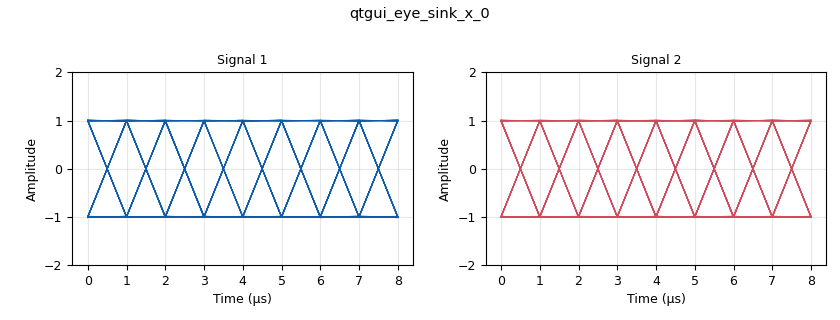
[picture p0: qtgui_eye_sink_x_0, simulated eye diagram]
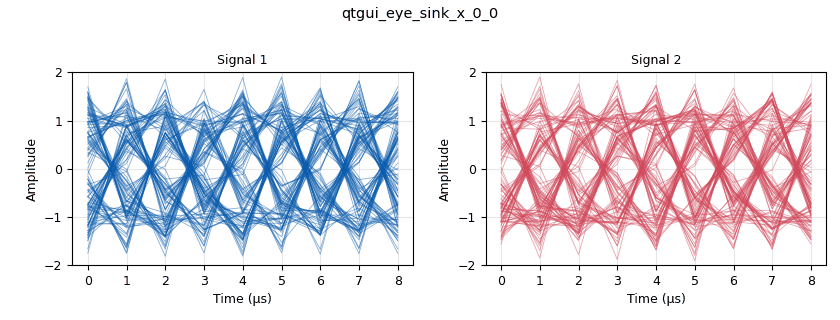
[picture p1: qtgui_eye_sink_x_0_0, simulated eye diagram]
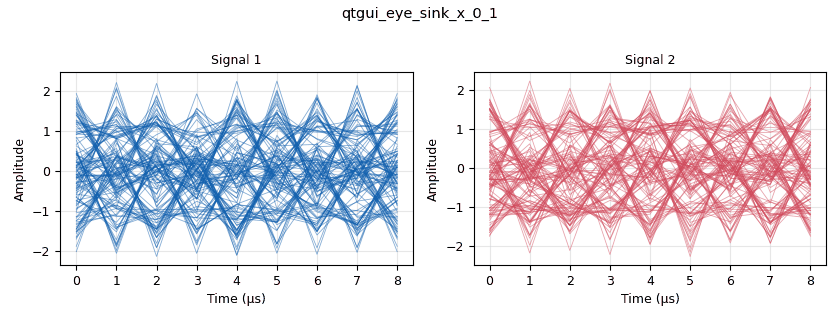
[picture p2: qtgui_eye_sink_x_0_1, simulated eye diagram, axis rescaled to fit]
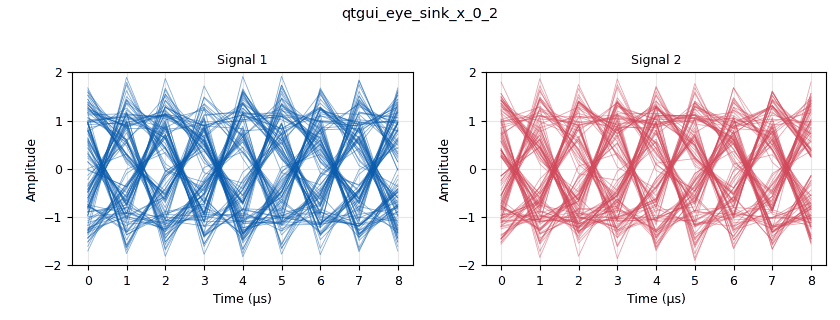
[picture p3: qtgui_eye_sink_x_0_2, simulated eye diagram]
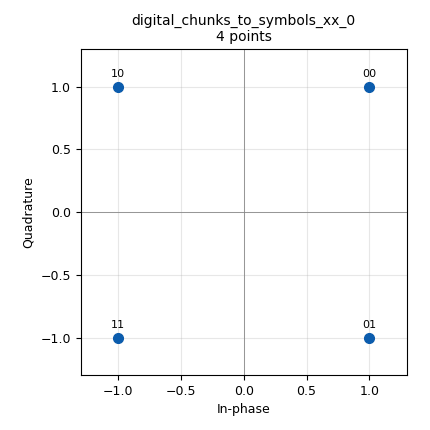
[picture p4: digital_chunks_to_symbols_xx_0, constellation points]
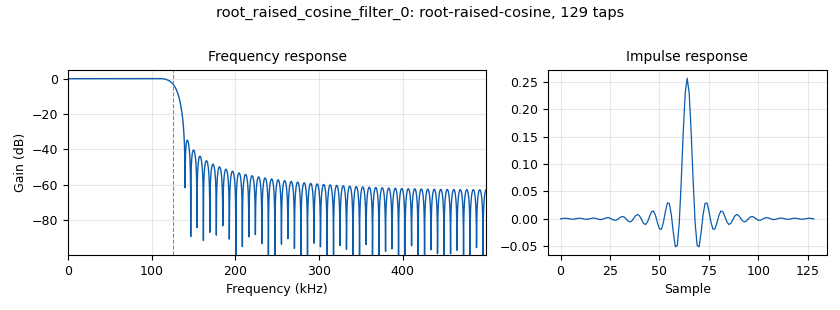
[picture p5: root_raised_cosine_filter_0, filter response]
options:
  parameters:
    generate_options: qt_gui
    id: QPSK_STO
    output_language: python
    title: QPSK_STO
  states: {}

blocks:
- name: delay
  id: variable_qtgui_range
  parameters:
    start: '0'
    step: '1'
    stop: '4'
    value: '0'
  states: {}
- name: excess_bw
  id: variable
  parameters:
    value: '0.1'
  states: {}
- name: qpsk
  id: variable_constellation_rect
  parameters:
    const_points: sym_map
    imag_sect: '2'
    real_sect: '2'
    rot_sym: '4'
    sym_map: '[0, 1, 2, 3]'
    w_imag_sect: '1'
    w_real_sect: '1'
  states: {}
- name: samp_rate
  id: variable
  parameters:
    value: 1e6
  states: {}
- name: sps
  id: variable
  parameters:
    value: '4'
  states: {}
- name: sym_map
  id: variable
  parameters:
    value: '[1+1j,1-1j,-1+1j,-1-1j]'
  states: {}
- name: analog_random_source_x_0
  id: analog_random_source_x
  parameters:
    max: '4'
    min: '0'
    num_samps: '100000'
    repeat: 'True'
    type: byte
  states: {}
- name: blocks_char_to_float_2
  id: blocks_char_to_float
  parameters:
    scale: '1'
  states: {}
- name: blocks_delay_0
  id: blocks_delay
  parameters:
    delay: delay
    type: complex
  states: {}
- name: blocks_float_to_int_0
  id: blocks_float_to_int
  parameters:
    scale: '1'
  states: {}
- name: blocks_multiply_const_vxx_0
  id: blocks_multiply_const_vxx
  parameters:
    const: '4'
    type: complex
  states: {}
- name: blocks_multiply_const_vxx_0_0
  id: blocks_multiply_const_vxx
  parameters:
    const: '4'
    type: complex
  states: {}
- name: blocks_multiply_const_vxx_0_1
  id: blocks_multiply_const_vxx
  parameters:
    const: '4'
    type: complex
  states: {}
- name: blocks_multiply_const_vxx_0_2
  id: blocks_multiply_const_vxx
  parameters:
    const: '4'
    type: complex
  states: {}
- name: blocks_throttle2_0_0
  id: blocks_throttle2
  parameters:
    samples_per_second: samp_rate/4
    type: complex
  states: {}
- name: digital_chunks_to_symbols_xx_0
  id: digital_chunks_to_symbols_xx
  parameters:
    dimension: '1'
    in_type: int
    out_type: complex
    symbol_table: sym_map
  states: {}
- name: fir_filter_xxx_1_0
  id: fir_filter_xxx
  parameters:
    decim: '4'
    taps: '[1,0,0,0]'
    type: ccc
  states: {}
- name: fir_filter_xxx_1_0_0
  id: fir_filter_xxx
  parameters:
    decim: '4'
    taps: '[0,0,0,1]'
    type: ccc
  states: {}
- name: fir_filter_xxx_1_0_1
  id: fir_filter_xxx
  parameters:
    decim: '4'
    taps: '[0,1,0,0]'
    type: ccc
  states: {}
- name: fir_filter_xxx_1_0_2
  id: fir_filter_xxx
  parameters:
    decim: '4'
    taps: '[0,0,1,0]'
    type: ccc
  states: {}
- name: interp_fir_filter_xxx_0
  id: interp_fir_filter_xxx
  parameters:
    interp: '4'
    taps: '[1,0,0,0]'
    type: ccc
  states: {}
- name: qtgui_eye_sink_x_0
  id: qtgui_eye_sink_x
  parameters:
    gui_hint: 0,0,1,1
    samp_per_symbol: sps
    size: '1024'
    srate: samp_rate
    type: complex
    ymax: '2'
    ymin: '-2'
  states: {}
- name: qtgui_eye_sink_x_0_0
  id: qtgui_eye_sink_x
  parameters:
    gui_hint: 0,1,1,1
    samp_per_symbol: sps
    size: '1024'
    srate: samp_rate
    type: complex
    ymax: '2'
    ymin: '-2'
  states: {}
- name: qtgui_eye_sink_x_0_1
  id: qtgui_eye_sink_x
  parameters:
    gui_hint: 1,0,1,1
    samp_per_symbol: sps
    size: '1024'
    srate: samp_rate
    type: complex
    ymax: '2'
    ymin: '-2'
  states: {}
- name: qtgui_eye_sink_x_0_2
  id: qtgui_eye_sink_x
  parameters:
    gui_hint: 1,1,1,1
    samp_per_symbol: sps
    size: '1024'
    srate: samp_rate
    type: complex
    ymax: '2'
    ymin: '-2'
  states: {}
- name: root_raised_cosine_filter_0
  id: root_raised_cosine_filter
  parameters:
    alpha: excess_bw
    decim: '1'
    gain: '1'
    ntaps: '128'
    samp_rate: samp_rate
    sym_rate: samp_rate/sps
    type: fir_filter_ccf
  states: {}
- name: root_raised_cosine_filter_0_0
  id: root_raised_cosine_filter
  parameters:
    alpha: excess_bw
    decim: '1'
    gain: '1'
    ntaps: '128'
    samp_rate: samp_rate
    sym_rate: samp_rate/sps
    type: fir_filter_ccf
  states: {}
- name: virtual_sink_0
  id: virtual_sink
  parameters:
    stream_id: send_symbol
  states: {}
- name: virtual_sink_1
  id: virtual_sink
  parameters:
    stream_id: send_float
  states: {}
- name: virtual_sink_2_0
  id: virtual_sink
  parameters:
    stream_id: send_receive
  states: {}
- name: virtual_source_0_0_1
  id: virtual_source
  parameters:
    stream_id: send_receive
  states: {}

connections:
- [analog_random_source_x_0, '0', blocks_char_to_float_2, '0']
- [blocks_char_to_float_2, '0', blocks_float_to_int_0, '0']
- [blocks_char_to_float_2, '0', virtual_sink_1, '0']
- [blocks_delay_0, '0', virtual_sink_2_0, '0']
- [blocks_float_to_int_0, '0', digital_chunks_to_symbols_xx_0, '0']
- [blocks_multiply_const_vxx_0, '0', qtgui_eye_sink_x_0, '0']
- [blocks_multiply_const_vxx_0_0, '0', qtgui_eye_sink_x_0_2, '0']
- [blocks_multiply_const_vxx_0_1, '0', qtgui_eye_sink_x_0_0, '0']
- [blocks_multiply_const_vxx_0_2, '0', qtgui_eye_sink_x_0_1, '0']
- [blocks_throttle2_0_0, '0', interp_fir_filter_xxx_0, '0']
- [blocks_throttle2_0_0, '0', virtual_sink_0, '0']
- [digital_chunks_to_symbols_xx_0, '0', blocks_throttle2_0_0, '0']
- [fir_filter_xxx_1_0, '0', blocks_multiply_const_vxx_0, '0']
- [fir_filter_xxx_1_0_0, '0', blocks_multiply_const_vxx_0_0, '0']
- [fir_filter_xxx_1_0_1, '0', blocks_multiply_const_vxx_0_1, '0']
- [fir_filter_xxx_1_0_2, '0', blocks_multiply_const_vxx_0_2, '0']
- [interp_fir_filter_xxx_0, '0', root_raised_cosine_filter_0, '0']
- [root_raised_cosine_filter_0, '0', blocks_delay_0, '0']
- [root_raised_cosine_filter_0_0, '0', fir_filter_xxx_1_0, '0']
- [root_raised_cosine_filter_0_0, '0', fir_filter_xxx_1_0_0, '0']
- [root_raised_cosine_filter_0_0, '0', fir_filter_xxx_1_0_1, '0']
- [root_raised_cosine_filter_0_0, '0', fir_filter_xxx_1_0_2, '0']
- [virtual_source_0_0_1, '0', root_raised_cosine_filter_0_0, '0']

metadata:
  file_format: 1
  grc_version: 3.10.10.0
